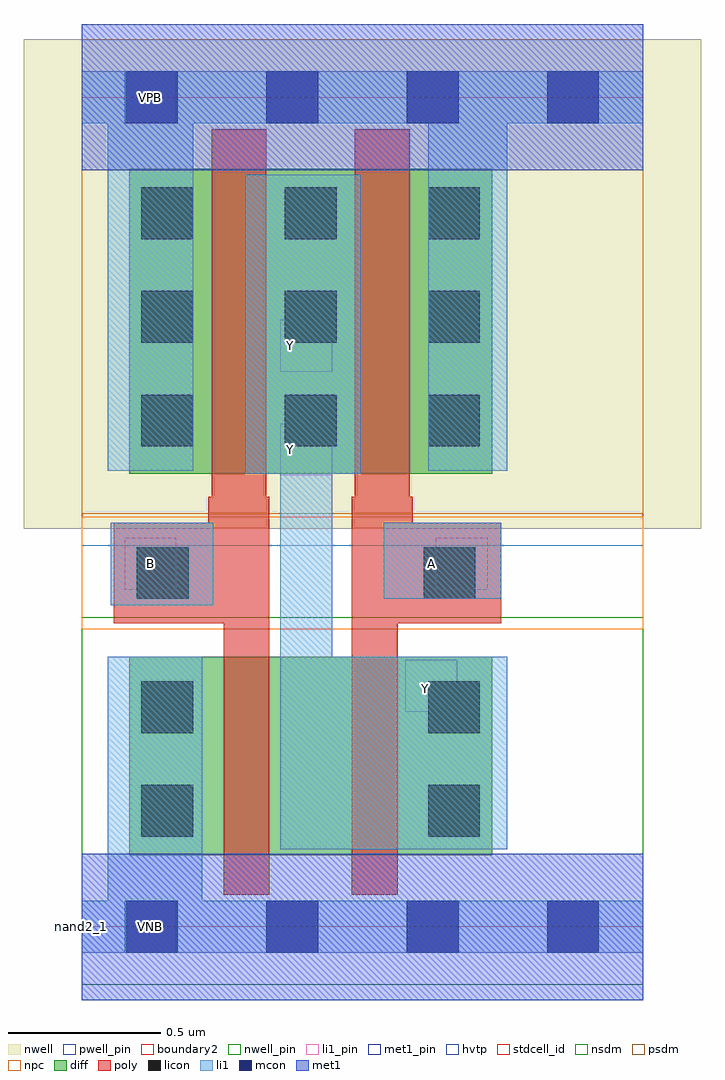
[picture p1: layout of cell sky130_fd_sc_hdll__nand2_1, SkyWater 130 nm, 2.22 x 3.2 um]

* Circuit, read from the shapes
.subckt sky130_fd_sc_hdll__nand2_1 A B VGND VNB VPB VPWR Y
XM1 n1 B VGND VNB sky130_fd_pr__nfet_01v8 w=0.65 l=0.15
XM2 Y A n1 VNB sky130_fd_pr__nfet_01v8 w=0.65 l=0.15
XM3 Y B VPWR VPB sky130_fd_pr__pfet_01v8_hvt w=1 l=0.18
XM4 VPWR A Y VPB sky130_fd_pr__pfet_01v8_hvt w=1 l=0.18
.ends

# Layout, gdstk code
import gdstk
lib = gdstk.Library(unit=1e-6, precision=1e-09)
def R(c, l, rs):  # rectangles x0, y0, x1, y1
    for r in rs: c.add(gdstk.rectangle(r[:2], r[2:], *l))
def A(c, l, x, y, w, h, nx, ny, dx, dy):  # array of equal rectangles
    R(c, l, [(x+i*dx, y+j*dy, x+i*dx+w, y+j*dy+h) for i in range(nx) for j in range(ny)])
def P(c, l, *ps):  # polygons
    for p in ps: c.add(gdstk.Polygon(p, *l))
nwell_pin = (64, 16)
nwell = (64, 20)
diff = (65, 20)
poly = (66, 20)
licon = (66, 44)
li1_pin = (67, 16)
li1 = (67, 20)
mcon = (67, 44)
met1_pin = (68, 16)
met1 = (68, 20)
hvtp = (78, 44)
stdcell_id = (81, 4)
nsdm = (93, 44)
psdm = (94, 20)
npc = (95, 20)
pwell_pin = (122, 16)
boundary2 = (236, 0)

sky130_fd_sc_hdll__nand2 = lib.new_cell('sky130_fd_sc_hdll__nand2_1')
R(sky130_fd_sc_hdll__nand2, nwell_pin, [(0.14,2.635,0.31,2.805)])
R(sky130_fd_sc_hdll__nand2, nwell, [(-0.19,1.305,2.03,2.91)])
R(sky130_fd_sc_hdll__nand2, diff, [(0.155,0.235,1.345,0.885), (0.155,1.485,1.345,2.485)])
P(sky130_fd_sc_hdll__nand2, poly, [(0.465,0.105),(0.465,0.995),(0.105,0.995),(0.105,1.325),(0.415,1.325),(0.415,1.41),(0.425,1.41),(0.425,2.615),(0.605,2.615),(0.605,1.41),(0.615,1.41),(0.615,0.105)],
  [(0.885,0.105),(0.885,1.41),(0.895,1.41),(0.895,2.615),(1.075,2.615),(1.075,1.41),(1.085,1.41),(1.085,1.325),(1.375,1.325),(1.375,0.995),(1.035,0.995),(1.035,0.105)])
A(sky130_fd_sc_hdll__nand2, licon, 0.195, 1.575, 0.17, 0.17, 3, 3, 0.47, 0.34)
R(sky130_fd_sc_hdll__nand2, licon, [(0.195,0.295,0.365,0.465), (1.135,0.295,1.305,0.465), (0.195,0.635,0.365,0.805), (1.135,0.635,1.305,0.805), (0.18,1.075,0.35,1.245), (1.12,1.075,1.29,1.245)])
R(sky130_fd_sc_hdll__nand2, li1_pin, [(1.06,0.705,1.23,0.875), (0.14,1.105,0.31,1.275), (1.16,1.105,1.33,1.275), (0.65,1.48,0.82,1.65), (0.65,1.82,0.82,1.99)])
R(sky130_fd_sc_hdll__nand2, li1, [(0.095,1.055,0.43,1.325), (0.99,1.075,1.375,1.325)])
P(sky130_fd_sc_hdll__nand2, li1, [(0,-0.085),(0,0.085),(0.085,0.085),(0.085,0.885),(0.395,0.885),(0.395,0.085),(1.84,0.085),(1.84,-0.085)],
  [(0.085,1.495),(0.085,2.635),(0,2.635),(0,2.805),(1.84,2.805),(1.84,2.635),(1.395,2.635),(1.395,1.495),(1.135,1.495),(1.135,2.635),(0.365,2.635),(0.365,1.495)],
  [(0.65,0.255),(0.65,1.485),(0.535,1.485),(0.535,2.465),(0.915,2.465),(0.915,1.485),(0.82,1.485),(0.82,0.885),(1.395,0.885),(1.395,0.255)])
A(sky130_fd_sc_hdll__nand2, mcon, 0.145, -0.085, 0.17, 0.17, 4, 2, 0.46, 2.72)
R(sky130_fd_sc_hdll__nand2, met1_pin, [(0.14,-0.085,0.31,0.085), (0.14,2.635,0.31,2.805)])
R(sky130_fd_sc_hdll__nand2, met1, [(0,-0.24,1.84,0.24), (0,2.48,1.84,2.96)])
R(sky130_fd_sc_hdll__nand2, hvtp, [(0,1.25,1.84,2.72)])
R(sky130_fd_sc_hdll__nand2, stdcell_id, [(0,0,1.84,2.72)])
R(sky130_fd_sc_hdll__nand2, nsdm, [(0,-0.19,1.84,1.015)])
R(sky130_fd_sc_hdll__nand2, psdm, [(0,1.355,1.84,2.91)])
R(sky130_fd_sc_hdll__nand2, npc, [(0,0.975,1.84,1.345)])
R(sky130_fd_sc_hdll__nand2, pwell_pin, [(0.14,-0.085,0.31,0.085)])
R(sky130_fd_sc_hdll__nand2, boundary2, [(0,0,1.84,2.72)])
sky130_fd_sc_hdll__nand2.add(gdstk.Label('Y', (0.685,1.565), layer=67, texttype=5))
sky130_fd_sc_hdll__nand2.add(gdstk.Label('Y', (0.685,1.905), layer=67, texttype=5))
sky130_fd_sc_hdll__nand2.add(gdstk.Label('Y', (1.125,0.78), layer=67, texttype=5))
sky130_fd_sc_hdll__nand2.add(gdstk.Label('B', (0.225,1.19), layer=67, texttype=5))
sky130_fd_sc_hdll__nand2.add(gdstk.Label('A', (1.145,1.19), layer=67, texttype=5))
sky130_fd_sc_hdll__nand2.add(gdstk.Label('VPB', (0.225,2.72), layer=64, texttype=5))
sky130_fd_sc_hdll__nand2.add(gdstk.Label('VNB', (0.225,0), layer=64, texttype=59))
sky130_fd_sc_hdll__nand2.add(gdstk.Label('VGND', (0.23,0), layer=68, texttype=5))
sky130_fd_sc_hdll__nand2.add(gdstk.Label('VPWR', (0.225,2.72), layer=68, texttype=5))
sky130_fd_sc_hdll__nand2.add(gdstk.Label('nand2_1', (0,0), layer=83, texttype=44))

lib.write_gds('sky130_fd_sc_hdll__nand2_1.gds')
